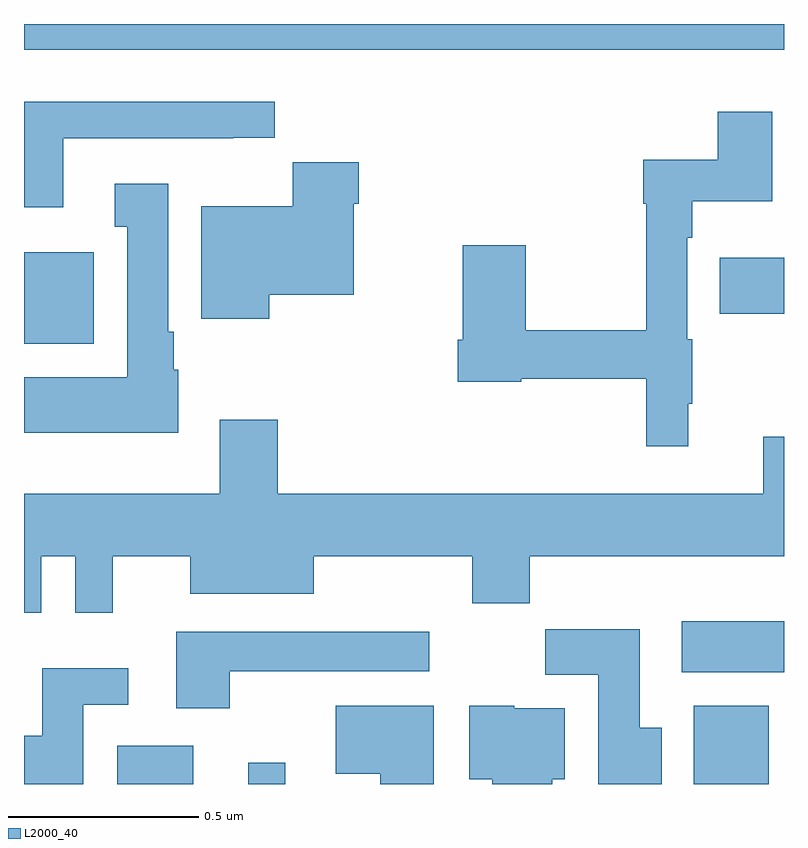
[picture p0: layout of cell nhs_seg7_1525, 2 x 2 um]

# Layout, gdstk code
import gdstk
lib = gdstk.Library(unit=1e-6, precision=1e-09)
def R(c, l, rs):  # rectangles x0, y0, x1, y1
    for r in rs: c.add(gdstk.rectangle(r[:2], r[2:], *l))
def P(c, l, *ps):  # polygons
    for p in ps: c.add(gdstk.Polygon(p, *l))
L2000_40 = (2000, 40)

nhs_seg7_1525 = lib.new_cell('nhs_seg7_1525')
R(nhs_seg7_1525, L2000_40, [(132.245,1016,132.445,1016.101), (132.59,1016,132.688,1016.056), (133.763,1016,133.96,1016.206), (133.731,1016.294,134,1016.428), (132,1017.158,132.184,1017.4), (133.831,1017.238,134,1017.385), (132,1017.932,134,1018)])
P(nhs_seg7_1525, L2000_40, [(132.103,1017.699),(132.551,1017.699),(132.551,1017.701),(132.66,1017.701),(132.66,1017.796),(132,1017.796),(132,1017.518),(132.103,1017.518)],
  [(133.748,1017.001),(133.759,1017.001),(133.759,1017.171),(133.746,1017.171),(133.746,1017.437),(133.759,1017.437),(133.759,1017.533),(133.969,1017.533),(133.969,1017.769),(133.826,1017.769),(133.826,1017.643),(133.63,1017.643),(133.63,1017.527),(133.638,1017.527),(133.638,1017.194),(133.32,1017.194),(133.32,1017.418),(133.154,1017.418),(133.154,1017.169),(133.142,1017.169),(133.142,1017.058),(133.308,1017.058),(133.308,1017.066),(133.638,1017.066),(133.638,1016.889),(133.748,1016.889)],
  [(132.646,1017.287),(132.868,1017.287),(132.868,1017.527),(132.881,1017.527),(132.881,1017.636),(132.707,1017.636),(132.707,1017.52),(132.467,1017.52),(132.467,1017.224),(132.646,1017.224)],
  [(132.406,1017.09),(132.394,1017.09),(132.394,1017.19),(132.379,1017.19),(132.379,1017.58),(132.239,1017.58),(132.239,1017.467),(132.272,1017.467),(132.272,1017.07),(132,1017.07),(132,1016.924),(132.406,1016.924)],
  [(132.045,1016.6),(132.135,1016.6),(132.135,1016.451),(132.233,1016.451),(132.233,1016.6),(132.437,1016.6),(132.437,1016.501),(132.763,1016.501),(132.763,1016.6),(133.18,1016.6),(133.18,1016.476),(133.331,1016.476),(133.331,1016.6),(134,1016.6),(134,1016.914),(133.946,1016.914),(133.946,1016.764),(132.668,1016.764),(132.668,1016.959),(132.515,1016.959),(132.515,1016.764),(132,1016.764),(132,1016.451),(132.045,1016.451)],
  [(133.678,1016.148),(133.621,1016.148),(133.621,1016.407),(133.372,1016.407),(133.372,1016.288),(133.511,1016.288),(133.511,1016),(133.678,1016)],
  [(132.541,1016.297),(133.066,1016.297),(133.066,1016.401),(132.401,1016.401),(132.401,1016.199),(132.541,1016.199)],
  [(132.156,1016.208),(132.274,1016.208),(132.274,1016.305),(132.048,1016.305),(132.048,1016.127),(132,1016.127),(132,1016),(132.156,1016)],
  [(133.39,1016.012),(133.423,1016.012),(133.423,1016.2),(133.29,1016.2),(133.29,1016.206),(133.172,1016.206),(133.172,1016.012),(133.232,1016.012),(133.232,1016),(133.39,1016)],
  [(133.078,1016.206),(132.821,1016.206),(132.821,1016.027),(132.938,1016.027),(132.938,1016),(133.078,1016)])

lib.write_gds('nhs_seg7_1525.gds')
